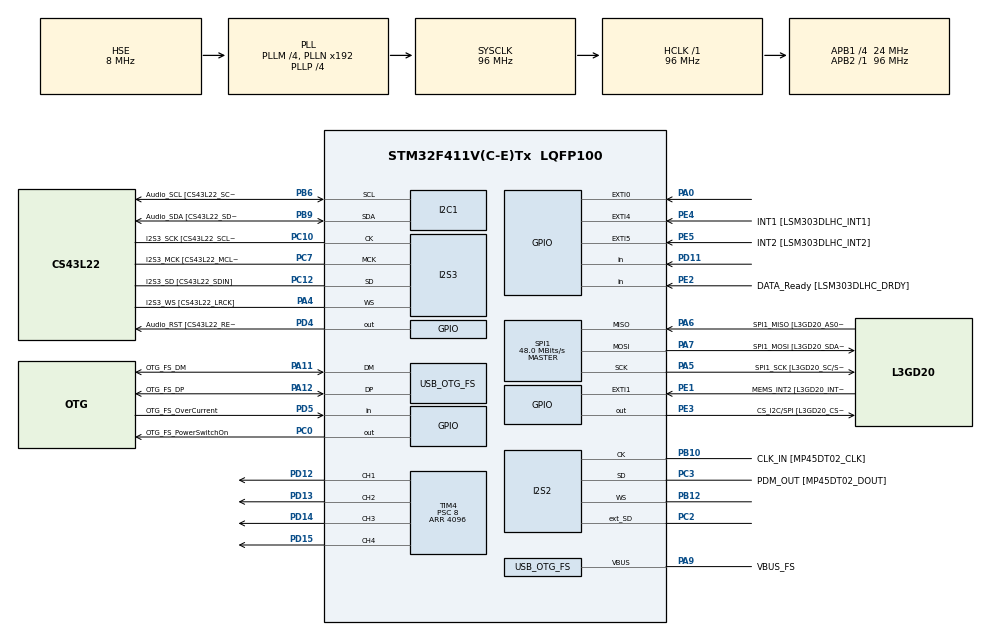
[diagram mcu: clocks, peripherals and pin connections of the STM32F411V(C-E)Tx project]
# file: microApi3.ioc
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Dma.Request0=SPI3_TX
Dma.SPI3_TX.0.Direction=DMA_MEMORY_TO_PERIPH
Dma.SPI3_TX.0.FIFOMode=DMA_FIFOMODE_DISABLE
Dma.SPI3_TX.0.Instance=DMA1_Stream5
Dma.SPI3_TX.0.MemDataAlignment=DMA_MDATAALIGN_HALFWORD
Dma.SPI3_TX.0.MemInc=DMA_MINC_ENABLE
Dma.SPI3_TX.0.Mode=DMA_CIRCULAR
Dma.SPI3_TX.0.PeriphDataAlignment=DMA_PDATAALIGN_HALFWORD
Dma.SPI3_TX.0.PeriphInc=DMA_PINC_DISABLE
Dma.SPI3_TX.0.Priority=DMA_PRIORITY_LOW
I2S2.AudioFreq=I2S_AUDIOFREQ_96K
I2S2.DataFormat=I2S_DATAFORMAT_24B
I2S2.ErrorAudioFreq=0.15 %
I2S2.FullDuplexMode=I2S_FULLDUPLEXMODE_ENABLE
I2S2.Instance=SPI$Index
I2S2.Mode=I2S_MODE_MASTER_RX
I2S2.RealAudioFreq=96.153 KHz
I2S2.VirtualMode=I2S_MODE_MASTER
I2S3.AudioFreq=I2S_AUDIOFREQ_48K
I2S3.DataFormat=I2S_DATAFORMAT_24B
I2S3.ErrorAudioFreq=0.15 %
I2S3.FullDuplexMode=I2S_FULLDUPLEXMODE_DISABLE
I2S3.Instance=SPI$Index
I2S3.RealAudioFreq=48.076 KHz
I2S3.VirtualMode=I2S_MODE_MASTER
Mcu.Family=STM32F4
Mcu.Name=STM32F411V(C-E)Tx
Mcu.Package=LQFP100
NVIC.DMA1_Stream5_IRQn=true\:0\:0\:false\:false\:true\:false\:true
NVIC.OTG_FS_IRQn=true\:0\:0\:false\:false\:true\:true\:true
NVIC.PriorityGroup=NVIC_PRIORITYGROUP_0
NVIC.SPI2_IRQn=true\:0\:0\:false\:false\:true\:true\:true
NVIC.SPI3_IRQn=true\:0\:0\:false\:false\:true\:true\:true
PA0-WKUP.GPIO_ModeDefaultEXTI=GPIO_MODE_EVT_RISING
PA0-WKUP.Signal=GPXTI0
PA10.GPIO_Label=OTG_FS_ID
PA10.Signal=USB_OTG_FS_ID
PA11.GPIO_Label=OTG_FS_DM
PA11.Mode=Device_Only
PA11.Signal=USB_OTG_FS_DM
PA12.GPIO_Label=OTG_FS_DP
PA12.Mode=Device_Only
PA12.Signal=USB_OTG_FS_DP
PA13.GPIO_Label=SWDIO
PA13.Mode=Serial_Wire
PA13.Signal=SYS_JTMS-SWDIO
PA14.GPIO_Label=SWCLK
PA14.Mode=Serial_Wire
PA14.Signal=SYS_JTCK-SWCLK
PA4.GPIO_Label=I2S3_WS [CS43L22_LRCK]
PA4.GPIO_Mode=GPIO_MODE_AF_PP
PA4.GPIO_PuPd=GPIO_NOPULL
PA4.GPIO_Speed=GPIO_SPEED_FREQ_LOW
PA4.Mode=Half_Duplex_Master
PA4.Signal=I2S3_WS
PA5.GPIO_Label=SPI1_SCK [L3GD20_SC/SPC]
PA5.Mode=Full_Duplex_Master
PA5.Signal=SPI1_SCK
PA6.GPIO_Label=SPI1_MISO [L3GD20_AS0/SDO]
PA6.Mode=Full_Duplex_Master
PA6.Signal=SPI1_MISO
PA7.GPIO_Label=SPI1_MOSI [L3GD20_SDA/SDI/SDO]
PA7.Mode=Full_Duplex_Master
PA7.Signal=SPI1_MOSI
PA9.GPIO_Label=VBUS_FS
PA9.Mode=Activate_VBUS
PA9.Signal=USB_OTG_FS_VBUS
PB10.GPIO_Label=CLK_IN [MP45DT02_CLK]
PB10.Mode=Full_Duplex_Master
PB10.Signal=I2S2_CK
PB12.Mode=Full_Duplex_Master
PB12.Signal=I2S2_WS
PB3.GPIO_Label=SWO
PB3.Signal=SYS_JTDO-SWO
PB6.GPIO_Label=Audio_SCL [CS43L22_SCL]
PB6.GPIO_Mode=GPIO_MODE_AF_OD
PB6.GPIO_PuPd=GPIO_NOPULL
PB6.GPIO_Speed=GPIO_SPEED_FREQ_LOW
PB6.Mode=I2C
PB6.Signal=I2C1_SCL
PB9.GPIO_Label=Audio_SDA [CS43L22_SDA]
PB9.GPIO_Mode=GPIO_MODE_AF_OD
PB9.GPIO_PuPd=GPIO_NOPULL
PB9.GPIO_Speed=GPIO_SPEED_FREQ_LOW
PB9.Mode=I2C
PB9.Signal=I2C1_SDA
PC0.GPIO_Label=OTG_FS_PowerSwitchOn
PC0.PinState=GPIO_PIN_SET
PC0.Signal=GPIO_Output
PC10.GPIO_Label=I2S3_SCK [CS43L22_SCLK]
PC10.GPIO_Mode=GPIO_MODE_AF_PP
PC10.GPIO_PuPd=GPIO_NOPULL
PC10.GPIO_Speed=GPIO_SPEED_FREQ_LOW
PC10.Mode=Half_Duplex_Master
PC10.Signal=I2S3_CK
PC12.GPIO_Label=I2S3_SD [CS43L22_SDIN]
PC12.GPIO_Mode=GPIO_MODE_AF_PP
PC12.GPIO_PuPd=GPIO_NOPULL
PC12.GPIO_Speed=GPIO_SPEED_FREQ_LOW
PC12.Mode=Half_Duplex_Master
PC12.Signal=I2S3_SD
PC14-OSC32_IN.GPIO_Label=PC14-OSC32_IN
PC14-OSC32_IN.Mode=LSE-External-Oscillator
PC14-OSC32_IN.Signal=RCC_OSC32_IN
PC15-OSC32_OUT.GPIO_Label=PC15-OSC32_OUT
PC15-OSC32_OUT.Mode=LSE-External-Oscillator
PC15-OSC32_OUT.Signal=RCC_OSC32_OUT
PC2.Mode=Full_Duplex_Master
PC2.Signal=I2S2_ext_SD
PC3.GPIO_Label=PDM_OUT [MP45DT02_DOUT]
PC3.Mode=Full_Duplex_Master
PC3.Signal=I2S2_SD
PC7.GPIO_Label=I2S3_MCK [CS43L22_MCLK]
PC7.GPIO_Mode=GPIO_MODE_AF_PP
PC7.GPIO_PuPd=GPIO_NOPULL
PC7.GPIO_Speed=GPIO_SPEED_FREQ_LOW
PC7.Mode=Master_Clock_Activated
PC7.Signal=I2S3_MCK
PD11.Signal=GPIO_Input
PD12.Signal=S_TIM4_CH1
PD13.Signal=S_TIM4_CH2
PD14.Signal=S_TIM4_CH3
PD15.Signal=S_TIM4_CH4
PD4.GPIO_Label=Audio_RST [CS43L22_RESET]
PD4.Signal=GPIO_Output
PD5.GPIO_Label=OTG_FS_OverCurrent
PD5.Signal=GPIO_Input
PDM2PCM.CHANNEL1_in_ptr_channels=1
PDM2PCM.CHANNEL1_mic_gain=24
PDM2PCM.CHANNEL1_out_ptr_channels=1
PE1.GPIO_Label=MEMS_INT2 [L3GD20_INT2]
PE1.GPIO_ModeDefaultEXTI=GPIO_MODE_EVT_RISING
PE1.Signal=GPXTI1
PE2.GPIO_Label=DATA_Ready [LSM303DLHC_DRDY]
PE2.Signal=GPIO_Input
PE3.GPIO_Label=CS_I2C/SPI [L3GD20_CS_I2C/SPI]
PE3.Signal=GPIO_Output
PE4.GPIO_Label=INT1 [LSM303DLHC_INT1]
PE4.GPIO_ModeDefaultEXTI=GPIO_MODE_EVT_RISING
PE4.Signal=GPXTI4
PE5.GPIO_Label=INT2 [LSM303DLHC_INT2]
PE5.GPIO_ModeDefaultEXTI=GPIO_MODE_EVT_RISING
PE5.Signal=GPXTI5
PH0\ -\ OSC_IN.GPIO_Label=PH0-OSC_IN
PH0\ -\ OSC_IN.Mode=HSE-External-Oscillator
PH0\ -\ OSC_IN.Signal=RCC_OSC_IN
PH1\ -\ OSC_OUT.GPIO_Label=PH1-OSC_OUT
PH1\ -\ OSC_OUT.Mode=HSE-External-Oscillator
PH1\ -\ OSC_OUT.Signal=RCC_OSC_OUT
ProjectManager.HeapSize=0x2000
ProjectManager.StackSize=0x4000
ProjectManager.TargetToolchain=STM32CubeIDE
RCC.48MHZClocksFreq_Value=48000000
RCC.AHBFreq_Value=96000000
RCC.APB1CLKDivider=RCC_HCLK_DIV4
RCC.APB1Freq_Value=24000000
RCC.APB1TimFreq_Value=48000000
RCC.APB2Freq_Value=96000000
RCC.APB2TimFreq_Value=96000000
RCC.CortexFreq_Value=96000000
RCC.HCLKFreq_Value=96000000
RCC.HSE_VALUE=8000000
RCC.HSI_VALUE=16000000
RCC.PLLI2SM=5
RCC.PLLI2SN=200
RCC.PLLM=4
RCC.PLLP=RCC_PLLP_DIV4
RCC.PLLQ=8
RCC.SYSCLKFreq_VALUE=96000000
RCC.SYSCLKSource=RCC_SYSCLKSOURCE_PLLCLK
RCC.VCOOutputFreq_Value=384000000
SH.S_TIM4_CH1.0=TIM4_CH1,PWM Generation1 CH1
SH.S_TIM4_CH2.0=TIM4_CH2,PWM Generation2 CH2
SH.S_TIM4_CH3.0=TIM4_CH3,PWM Generation3 CH3
SH.S_TIM4_CH4.0=TIM4_CH4,PWM Generation4 CH4
SPI1.BaudRatePrescaler=SPI_BAUDRATEPRESCALER_2
SPI1.CalculateBaudRate=48.0 MBits/s
SPI1.Direction=SPI_DIRECTION_2LINES
SPI1.Mode=SPI_MODE_MASTER
SPI1.VirtualType=VM_MASTER
TIM4.Channel-PWM\ Generation1\ CH1=TIM_CHANNEL_1
TIM4.Channel-PWM\ Generation2\ CH2=TIM_CHANNEL_2
TIM4.Channel-PWM\ Generation3\ CH3=TIM_CHANNEL_3
TIM4.Channel-PWM\ Generation4\ CH4=TIM_CHANNEL_4
TIM4.Period=4096
TIM4.Prescaler=8
USB_DEVICE.CLASS_NAME_FS=CDC
USB_DEVICE.VirtualMode=Cdc
USB_DEVICE.VirtualModeFS=Cdc_FS
USB_OTG_FS.VirtualMode=Device_Only
VP_CRC_VS_CRC.Mode=CRC_Activate
VP_PDM2PCM_VS_PDM2PCM.Mode=PDM2PCM_Channel
VP_TIM4_VS_ClockSourceINT.Mode=Internal
VP_USB_DEVICE_VS_USB_DEVICE_CDC_FS.Mode=CDC_FS
board=STM32F411E-DISCO

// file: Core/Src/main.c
/* USER CODE BEGIN Header */
/**
  ******************************************************************************
  * @file           : main.c
  * @brief          : Main program body
  ******************************************************************************
  * @attention
  *
  * <h2><center>&copy; Copyright (c) 2020 STMicroelectronics.
  * All rights reserved.</center></h2>
  *
  * This software component is licensed by ST under Ultimate Liberty license
  * SLA0044, the "License"; You may not use this file except in compliance with
  * the License. You may obtain a copy of the License at:
  *                             www.st.com/SLA0044
  *
  ******************************************************************************
  */
/* USER CODE END Header */
#include "main.h"
#include "crc.h"
#include "dma.h"
#include "i2c.h"
#include "i2s.h"
#include "pdm2pcm.h"
#include "spi.h"
#include "tim.h"
#include "usb_device.h"
#include "gpio.h"

/* USER CODE BEGIN Includes */
#include "usbd_cdc_if.h"
#include <string.h>
#include "cs43l22.h"
#include "kiss_fft.h"
#include<math.h>
/* USER CODE END Includes */

/* USER CODE BEGIN PV */
uint16_t txBuf[128];
uint16_t pdmRxBuf[512*4];//64-32 bit frames = 128 half words
float ReBuffer[512];
float ImBuffer[512];
float FFTBuffer[512];
uint16_t MidBuffer[16];
uint8_t txstate = 0;
uint8_t rxstate = 0;

uint16_t fifobuf[256];
uint8_t fifo_w_ptr = 0;
uint8_t fifo_r_ptr = 0;
uint8_t fifo_read_enabled = 0;

/* USER CODE END PV */

void SystemClock_Config(void);
/* USER CODE BEGIN PFP */
void FifoWrite(uint16_t data) {
	fifobuf[fifo_w_ptr] = data;
	fifo_w_ptr++;
}

uint16_t FifoRead() {
	uint16_t val = fifobuf[fifo_r_ptr];
	fifo_r_ptr++;
	return val;
}

/* USER CODE END PFP */

/* USER CODE BEGIN 0 */
int itoa2(uint16_t value,char *ptr)
     {

        int count=0,temp = value;
        if(value==0)
        {
            *ptr='0';
            return 1;
        }

        if(value<0)
        {
            value*=(-1);
            *ptr++='-';
            count++;
        }
        for(temp=value;temp>0;temp/=10,ptr++);
           *ptr=',';
           *ptr++;
           *ptr='\0';
           *ptr--;
           for(temp=value;temp>0;temp/=10)
        {
            *--ptr=temp%10+'0';
            count++;
        }
        return count+1;
     }
int min(int a,int b){
	if(a>b) return b;
	return a;
}

double get_db(){
	double sum = 0;
	for(int i=1;i<512;i++){
			sum+=FFTBuffer[i];
	}
	sum = sqrt(2*sum);
	sum = sum/32678;
	sum = 10 * sum;
	return sum/3 - 2;
}

void start_vibro(double db)
{
	int vibros[4] = {15,50,100,1000};
	double sums[4] = {0,0,0,0};
	int j =0;
	for(int i=1;i<256;i+=1){
		if(i > vibros[j]) j++;
		if(FFTBuffer[i]/100000 > sums[j])

			sums[j] = FFTBuffer[i]/100000;

	}
	sums[2]/=1.5;
	sums[1]/=1.2;
	int diff[4] = {0,0,0,0};
	for(int i= 0;i<4;i++){
		for(int j=0;j<4;j++){
			if(sums[i] >= sums[j] - 0.5){
				diff[i]+=1;
			}
			}
		}
	if(db>3)
		db = 3;
	TIM4->CCR1 = (diff[0] * 400 - 1) * db;
	TIM4->CCR2 = (diff[1] * 400 - 1) * db ;
	TIM4->CCR3 = (diff[2] * 400 - 1) * db;
	TIM4->CCR4 = (diff[3] * 400 - 1) * db ;

}
/* USER CODE END 0 */

int main(void)
{

  /* MCU Configuration--------------------------------------------------------*/

  /* Reset of all peripherals, Initializes the Flash interface and the Systick. */
  HAL_Init();

  /* Configure the system clock */
  SystemClock_Config();

  /* Initialize all configured peripherals */
  MX_GPIO_Init();
  MX_DMA_Init();
  MX_I2C1_Init();
  MX_I2S2_Init();
  MX_I2S3_Init();
  MX_SPI1_Init();
  MX_CRC_Init();
  MX_PDM2PCM_Init();
  MX_USB_DEVICE_Init();
  MX_TIM4_Init();
  /* USER CODE BEGIN 2 */
	CS43_Init(hi2c1,MODE_I2S);
	CS43_SetVolume(60);//70
	CS43_Enable_RightLeft(CS43_RIGHT_LEFT);
	CS43_Start();
  //HAL_I2S_Transmit_DMA(&hi2s3, &txBuf[0], 64);// 64-32 bit frames to external i2s DAC
  HAL_I2S_Receive_DMA(&hi2s2, &pdmRxBuf[0],64);//64-32 bit frames from PDM microphone
  HAL_TIM_PWM_Start(&htim4,TIM_CHANNEL_1);
  HAL_TIM_PWM_Start(&htim4,TIM_CHANNEL_2);
  HAL_TIM_PWM_Start(&htim4,TIM_CHANNEL_3);
  HAL_TIM_PWM_Start(&htim4,TIM_CHANNEL_4);
  TIM4->CCR1 = 0;
  TIM4->CCR2 = 0;
  TIM4->CCR3 = 0;
  TIM4->CCR4 = 0;
  /* USER CODE END 2 */

  /* Infinite loop */
  /* USER CODE BEGIN WHILE */
  const char str[] = "Hello!\n";
  uint16_t data_in[128];
  int rxIter = 0;
  int k =0;
  double avg = 0;
  while (1)
  {

	  /*
	  for (int i=0; i<16; i++) {
		  char c[500];
		  int x = itoa2(MidBuffer[i],c);
		  CDC_Transmit_FS(c,x);
		  HAL_Delay(5);
		  CDC_Transmit_FS(", ",2);
		  HAL_Delay(5);
	  }
	  CDC_Transmit_FS('\n',1);
	  CDC_Transmit_FS('\n',1);
	  CDC_Transmit_FS('\n',1);
	  CDC_Transmit_FS('\n',1);

	  HAL_Delay(500);
	*/

	  volatile HAL_StatusTypeDef result = HAL_I2S_Receive(&hi2s2, data_in,32,1000);
	  if (result == HAL_OK) {
		  for(int i=0;i<32;i+=2)
			  pdmRxBuf[rxIter++] = (int16_t) data_in[i];

	  }

		 if (rxIter == 512 * 4) {//RxHalfCpltCallba
			for(int y =0;y<64*32;y+=64){
				PDM_Filter(&pdmRxBuf[y],&MidBuffer[0], &PDM1_filter_handler);//filter first 64x16bit received PDM data
				for(int i=0;i<16;i++){
					ReBuffer[i+y/4] = MidBuffer[i];
				}
			}

			FFT(ReBuffer, ImBuffer, 512, 9, -1);

			for(int i=0;i<512;i++){
				FFTBuffer[i] = ReBuffer[i] * ReBuffer[i] + ImBuffer[i] * ImBuffer[i];
				FFTBuffer[i] = sqrt(FFTBuffer[i]);
				ImBuffer[i] = 0;
			}
			double db = get_db();
			db*=db;
			db*=9;
			db*=db*db*db;
			db = (0.6 - db)*5;
			if(db<0){
				db =0;
			}
			avg+=db;

			if(k%100==0){
				k = 1;

				avg = 0;
			}
			rxIter = 0;
	    	k+=1;
	    	start_vibro(db);
		 }

//	    if (txstate==1) {//TxHalfCpltCallback
//	    	if (fifo_read_enabled==1) {//first 128 (64X2 channels) PCM samples to external i2s DAC
//				for (int i=0; i<64;i=i+4) {
//					uint16_t data = FifoRead();
//					txBuf[i] = data;// 16bit!!! data for first 24 bit channel
//					txBuf[i+2] = data;// 16bit!!! data for second 24 bit channel
//				}
//	    	}
//	    	txstate=0;
//	    }
//
//	    if (txstate==2) {//TxCpltCallback
//	    	if (fifo_read_enabled==1) {//second 64 PCM samples
//				for (int i=64; i<128;i=i+4) {
//					uint16_t data = FifoRead();
//					txBuf[i] = data;// 16bit!!! data for first 24 bit channel
//					txBuf[i+2] = data;// 16bit!!! data for second 24 bit channel
//				}
//
//			}
//	    	txstate=0;
//	    }

    /* USER CODE END WHILE */

  }
}

void SystemClock_Config(void)
{
  RCC_OscInitTypeDef RCC_OscInitStruct = {0};
  RCC_ClkInitTypeDef RCC_ClkInitStruct = {0};
  RCC_PeriphCLKInitTypeDef PeriphClkInitStruct = {0};

  /** Configure the main internal regulator output voltage
  */
  __HAL_RCC_PWR_CLK_ENABLE();
  __HAL_PWR_VOLTAGESCALING_CONFIG(PWR_REGULATOR_VOLTAGE_SCALE1);
  /** Initializes the RCC Oscillators according to the specified parameters
  * in the RCC_OscInitTypeDef structure.
  */
  RCC_OscInitStruct.OscillatorType = RCC_OSCILLATORTYPE_HSE;
  RCC_OscInitStruct.HSEState = RCC_HSE_ON;
  RCC_OscInitStruct.PLL.PLLState = RCC_PLL_ON;
  RCC_OscInitStruct.PLL.PLLSource = RCC_PLLSOURCE_HSE;
  RCC_OscInitStruct.PLL.PLLM = 4;
  RCC_OscInitStruct.PLL.PLLN = 192;
  RCC_OscInitStruct.PLL.PLLP = RCC_PLLP_DIV4;
  RCC_OscInitStruct.PLL.PLLQ = 8;
  if (HAL_RCC_OscConfig(&RCC_OscInitStruct) != HAL_OK)
  {
    Error_Handler();
  }
  /** Initializes the CPU, AHB and APB buses clocks
  */
  RCC_ClkInitStruct.ClockType = RCC_CLOCKTYPE_HCLK|RCC_CLOCKTYPE_SYSCLK
                              |RCC_CLOCKTYPE_PCLK1|RCC_CLOCKTYPE_PCLK2;
  RCC_ClkInitStruct.SYSCLKSource = RCC_SYSCLKSOURCE_PLLCLK;
  RCC_ClkInitStruct.AHBCLKDivider = RCC_SYSCLK_DIV1;
  RCC_ClkInitStruct.APB1CLKDivider = RCC_HCLK_DIV4;
  RCC_ClkInitStruct.APB2CLKDivider = RCC_HCLK_DIV1;

  if (HAL_RCC_ClockConfig(&RCC_ClkInitStruct, FLASH_LATENCY_3) != HAL_OK)
  {
    Error_Handler();
  }
  PeriphClkInitStruct.PeriphClockSelection = RCC_PERIPHCLK_I2S;
  PeriphClkInitStruct.PLLI2S.PLLI2SN = 200;
  PeriphClkInitStruct.PLLI2S.PLLI2SM = 5;
  PeriphClkInitStruct.PLLI2S.PLLI2SR = 2;
  if (HAL_RCCEx_PeriphCLKConfig(&PeriphClkInitStruct) != HAL_OK)
  {
    Error_Handler();
  }
}

/* USER CODE BEGIN 4 */
void HAL_I2S_TxHalfCpltCallback (I2S_HandleTypeDef *hi2s) {
	txstate = 1;
}

void HAL_I2S_TxCpltCallback (I2S_HandleTypeDef *hi2s) {
	txstate = 2;
}

void HAL_I2S_RxHalfCpltCallback (I2S_HandleTypeDef *hi2s) {
	rxstate = 1;
}

void HAL_I2S_RxCpltCallback (I2S_HandleTypeDef *hi2s) {
	rxstate = 2;
}
/* USER CODE END 4 */

void Error_Handler(void)
{
}

/************************ (C) COPYRIGHT STMicroelectronics *****END OF FILE****/
